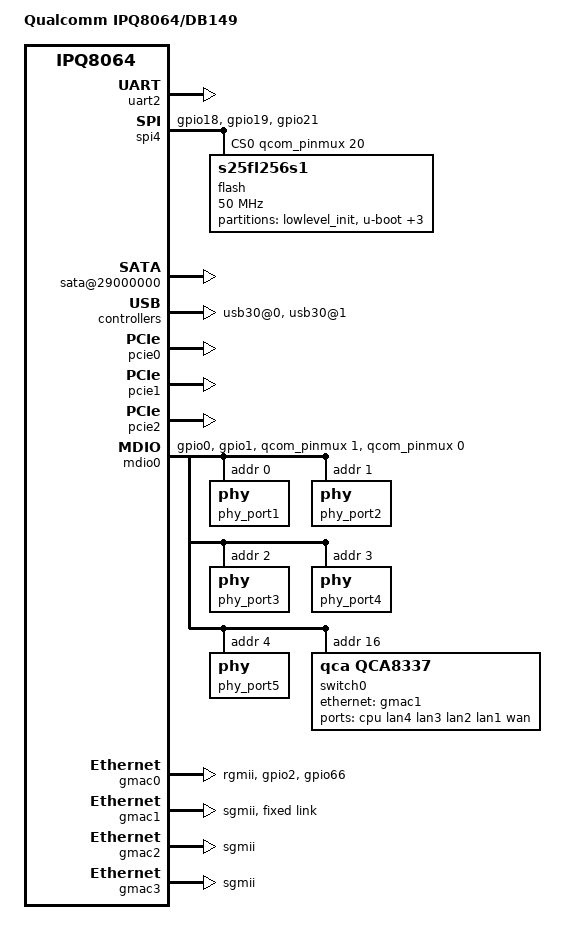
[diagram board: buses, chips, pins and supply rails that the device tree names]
#include "qcom-ipq8064-v1.0.dtsi"

/ {
	model = "Qualcomm IPQ8064/DB149";
	compatible = "qcom,ipq8064-db149", "qcom,ipq8064";

	reserved-memory {
		#address-cells = <1>;
		#size-cells = <1>;
		ranges;
		rsvd@41200000 {
			reg = <0x41200000 0x300000>;
			no-map;
		};
	};

	alias {
		serial0 = &uart2;
		mdio-gpio0 = &mdio0;
	};

	chosen {
		linux,stdout-path = "serial0:115200n8";
	};

	soc {
		pinmux@800000 {
			i2c4_pins: i2c4_pinmux {
				pins = "gpio12", "gpio13";
				function = "gsbi4";
				bias-disable;
			};

			spi_pins: spi_pins {
				mux {
					pins = "gpio18", "gpio19", "gpio21";
					function = "gsbi5";
					drive-strength = <10>;
					bias-none;
				};
			};

			mdio0_pins: mdio0_pins {
				mux {
					pins = "gpio0", "gpio1";
					function = "gpio";
					drive-strength = <8>;
					bias-disable;
				};
			};

			rgmii0_pins: rgmii0_pins {
				mux {
					pins = "gpio2", "gpio66";
					drive-strength = <8>;
					bias-disable;
				};
			};
		};

		gsbi2: gsbi@12480000 {
			qcom,mode = <GSBI_PROT_I2C_UART>;
			status = "ok";
			uart2: serial@12490000 {
				status = "ok";
			};
		};

		gsbi5: gsbi@1a200000 {
			qcom,mode = <GSBI_PROT_SPI>;
			status = "ok";

			spi4: spi@1a280000 {
				status = "ok";
				spi-max-frequency = <50000000>;

				pinctrl-0 = <&spi_pins>;
				pinctrl-names = "default";

				cs-gpios = <&qcom_pinmux 20 0>;

				flash: m25p80@0 {
					compatible = "s25fl256s1";
					#address-cells = <1>;
					#size-cells = <1>;
					spi-max-frequency = <50000000>;
					reg = <0>;
					m25p,fast-read;

					partition@0 {
						label = "lowlevel_init";
						reg = <0x0 0x1b0000>;
					};

					partition@1 {
						label = "u-boot";
						reg = <0x1b0000 0x80000>;
					};

					partition@2 {
						label = "u-boot-env";
						reg = <0x230000 0x40000>;
					};

					partition@3 {
						label = "caldata";
						reg = <0x270000 0x40000>;
					};

					partition@4 {
						label = "firmware";
						reg = <0x2b0000 0x1d50000>;
					};
				};
			};
		};

		sata-phy@1b400000 {
			status = "ok";
		};

		sata@29000000 {
			status = "ok";
		};

		phy@100f8800 {		/* USB3 port 1 HS phy */
			status = "ok";
		};

		phy@100f8830 {		/* USB3 port 1 SS phy */
			status = "ok";
		};

		phy@110f8800 {		/* USB3 port 0 HS phy */
			status = "ok";
		};

		phy@110f8830 {		/* USB3 port 0 SS phy */
			status = "ok";
		};

		usb30@0 {
			status = "ok";
		};

		usb30@1 {
			status = "ok";
		};

		pcie0: pci@1b500000 {
			status = "ok";
		};

		pcie1: pci@1b700000 {
			status = "ok";
		};

		pcie2: pci@1b900000 {
			status = "ok";
		};

		mdio0: mdio {
			compatible = "virtual,mdio-gpio";
			#address-cells = <1>;
			#size-cells = <0>;
			gpios = <&qcom_pinmux 1 0 &qcom_pinmux 0 0>;

			pinctrl-0 = <&mdio0_pins>;
			pinctrl-names = "default";

			phy_port1: phy@0 {
				reg = <0>;
			};

			phy_port2: phy@1 {
				reg = <1>;
			};

			phy_port3: phy@2 {
				reg = <2>;
			};

			phy_port4: phy@3 {
				reg = <3>;
			};

			phy_port5: phy@4 {
				reg = <4>;
			};

			switch0@16 {
				compatible = "qca,qca8337";
				#address-cells = <1>;
				#size-cells = <0>;

				reg = <16>;

				ports {
					#address-cells = <1>;
					#size-cells = <0>;
					port@0 {
						reg = <0>;
						label = "cpu";
						ethernet = <&gmac1>;
						phy-mode = "rgmii";

 						fixed-link {
 							speed = <1000>;
 							full-duplex;
 						};
					};

					port@1 {
						reg = <1>;
						label = "lan4";
						phy-handle = <&phy_port1>;
					};

					port@2 {
						reg = <2>;
						label = "lan3";
						phy-handle = <&phy_port2>;
					};

					port@3 {
						reg = <3>;
						label = "lan2";
						phy-handle = <&phy_port3>;
					};

					port@4 {
						reg = <4>;
						label = "lan1";
						phy-handle = <&phy_port4>;
					};

					port@5 {
						reg = <5>;
						label = "wan";
						phy-handle = <&phy_port5>;
					};

					/*
					 * Disabled until DSA supports multiple CPUs,
					 * otherwise it causes undefined behavior.
					 *
					 * port@6 {
					 *	reg = <6>;
					 *	label = "cpu";
					 *	ethernet = <&gmac2>;
					 *	phy-mode = "sgmii";
					 *
 					 *	fixed-link {
 					 *		speed = <1000>;
 					 *		full-duplex;
 					 *	};
					 * };
					 */
				};
			};		
		};

		gmac0: ethernet@37000000 {
			status = "ok";
			phy-mode = "rgmii";
			qcom,id = <0>;

			pinctrl-0 = <&rgmii0_pins>;
			pinctrl-names = "default";
		};

		gmac1: ethernet@37200000 {
			status = "ok";
			phy-mode = "sgmii";
			qcom,id = <1>;

			fixed-link {
				speed = <1000>;
				full-duplex;
			};
		};

		gmac2: ethernet@37400000 {
			status = "ok";
			phy-mode = "sgmii";
			qcom,id = <2>;
		};

		gmac3: ethernet@37600000 {
			status = "ok";
			phy-mode = "sgmii";
			qcom,id = <3>;
		};
	};
};
